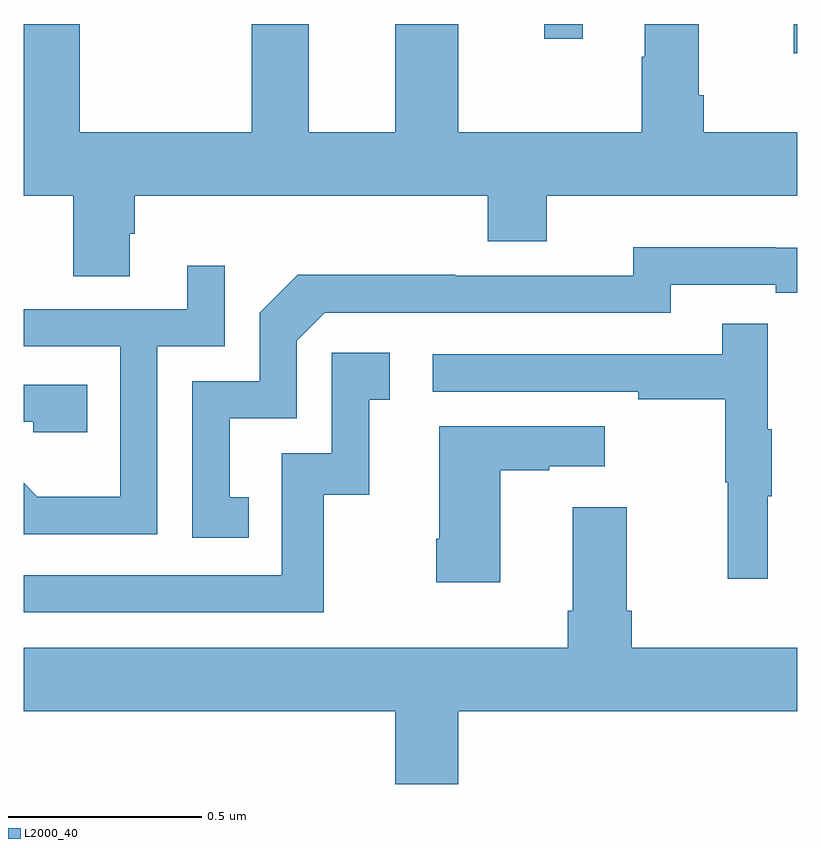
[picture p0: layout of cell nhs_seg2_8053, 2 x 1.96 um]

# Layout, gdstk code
import gdstk
lib = gdstk.Library(unit=1e-6, precision=1e-09)
def R(c, l, rs):  # rectangles x0, y0, x1, y1
    for r in rs: c.add(gdstk.rectangle(r[:2], r[2:], *l))
def P(c, l, *ps):  # polygons
    for p in ps: c.add(gdstk.Polygon(p, *l))
L2000_40 = (2000, 40)

nhs_seg2_8053 = lib.new_cell('nhs_seg2_8053')
R(nhs_seg2_8053, L2000_40, [(213.99,594.725,214,594.8), (213.346,594.762,213.445,594.8)])
P(nhs_seg2_8053, L2000_40, [(212.275,594.258),(212.288,594.258),(212.288,594.356),(213.2,594.356),(213.2,594.239),(213.352,594.239),(213.352,594.356),(214,594.356),(214,594.52),(213.758,594.52),(213.758,594.616),(213.745,594.616),(213.745,594.8),(213.605,594.8),(213.605,594.716),(213.598,594.716),(213.598,594.52),(213.124,594.52),(213.124,594.8),(212.96,594.8),(212.96,594.52),(212.737,594.52),(212.737,594.8),(212.59,594.8),(212.59,594.52),(212.145,594.52),(212.145,594.8),(212,594.8),(212,594.356),(212.128,594.356),(212.128,594.148),(212.275,594.148)],
  [(212.582,593.577),(212.533,593.577),(212.533,593.781),(212.706,593.781),(212.706,593.982),(212.778,594.054),(213.672,594.054),(213.672,594.126),(213.944,594.126),(213.944,594.106),(214,594.106),(214,594.222),(213.944,594.222),(213.944,594.223),(213.576,594.223),(213.576,594.15),(213.116,594.15),(213.116,594.152),(212.708,594.152),(212.61,594.054),(212.61,593.877),(212.436,593.877),(212.436,593.472),(212.582,593.472)],
  [(212.346,593.967),(212.52,593.967),(212.52,594.175),(212.423,594.175),(212.423,594.063),(212,594.063),(212,593.967),(212.25,593.967),(212.25,593.578),(212.036,593.578),(212,593.614),(212,593.481),(212.346,593.481)],
  [(213.923,593.579),(213.934,593.579),(213.934,593.753),(213.923,593.753),(213.923,594.025),(213.805,594.025),(213.805,593.946),(213.057,593.946),(213.057,593.85),(213.589,593.85),(213.589,593.83),(213.813,593.83),(213.813,593.616),(213.82,593.616),(213.82,593.367),(213.923,593.367)],
  [(212.776,593.583),(212.894,593.583),(212.894,593.829),(212.947,593.829),(212.947,593.95),(212.796,593.95),(212.796,593.691),(212.667,593.691),(212.667,593.376),(212,593.376),(212,593.28),(212.776,593.28)],
  [(212.165,593.868),(212,593.868),(212,593.772),(212.025,593.772),(212.025,593.745),(212.165,593.745)],
  [(213.232,593.647),(213.359,593.647),(213.359,593.657),(213.502,593.657),(213.502,593.761),(213.074,593.761),(213.074,593.47),(213.067,593.47),(213.067,593.358),(213.232,593.358)],
  [(213.124,593.024),(214,593.024),(214,593.188),(213.572,593.188),(213.572,593.284),(213.559,593.284),(213.559,593.551),(213.419,593.551),(213.419,593.284),(213.407,593.284),(213.407,593.188),(212,593.188),(212,593.024),(212.96,593.024),(212.96,592.836),(213.124,592.836)])

lib.write_gds('nhs_seg2_8053.gds')
